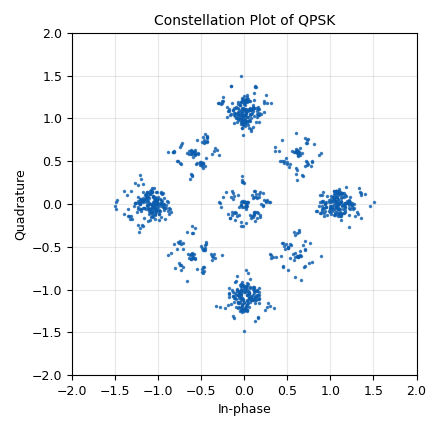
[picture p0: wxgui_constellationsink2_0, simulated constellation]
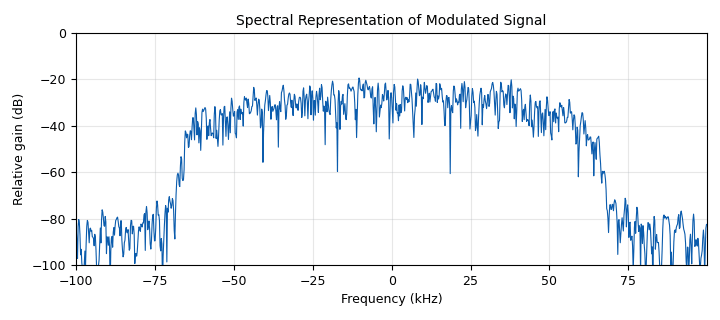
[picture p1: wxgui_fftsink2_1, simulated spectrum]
<?xml version='1.0' encoding='utf-8'?>
<?grc format='1' created='3.7.11'?>
<flow_graph>
<block>
<key>options</key>
<param><key>id</key><value>qpsk_mod_sim</value></param>
<param><key>author</key><value>AKADEMIKA Lab Solution</value></param>
<param><key>category</key><value>Custom</value></param>
<param><key>generate_options</key><value>wx_gui</value></param>
<param><key>title</key><value>QPSK Modulation</value></param>
</block>
<block>
<key>variable</key>
<param><key>id</key><value>samp_rate</value></param>
<param><key>value</key><value>200000</value></param>
</block>
<block>
<key>analog_random_source_x</key>
<param><key>id</key><value>analog_random_source_x_0</value></param>
<param><key>max</key><value>100</value></param>
<param><key>min</key><value>0</value></param>
<param><key>num_samps</key><value>10000</value></param>
<param><key>type</key><value>byte</value></param>
<param><key>repeat</key><value>True</value></param>
</block>
<block>
<key>blocks_throttle</key>
<param><key>id</key><value>blocks_throttle_0</value></param>
<param><key>samples_per_second</key><value>samp_rate</value></param>
<param><key>type</key><value>complex</value></param>
</block>
<block>
<key>digital_psk_mod</key>
<param><key>id</key><value>digital_psk_mod_0</value></param>
<param><key>differential</key><value>True</value></param>
<param><key>excess_bw</key><value>350e-3</value></param>
<param><key>mod_code</key><value>"gray"</value></param>
<param><key>constellation_points</key><value>4</value></param>
<param><key>samples_per_symbol</key><value>2</value></param>
</block>
<block>
<key>wxgui_constellationsink2</key>
<param><key>id</key><value>wxgui_constellationsink2_0</value></param>
<param><key>const_size</key><value>1024</value></param>
<param><key>frame_rate</key><value>10</value></param>
<param><key>gain_mu</key><value>0.005</value></param>
<param><key>loop_bw</key><value>6.28/100.0</value></param>
<param><key>M</key><value>4</value></param>
<param><key>fmax</key><value>0.06</value></param>
<param><key>mu</key><value>0.5</value></param>
<param><key>omega_limit</key><value>0.005</value></param>
<param><key>samp_rate</key><value>samp_rate</value></param>
<param><key>symbol_rate</key><value>samp_rate</value></param>
<param><key>theta</key><value>0</value></param>
<param><key>title</key><value>Constellation Plot of QPSK</value></param>
</block>
<block>
<key>wxgui_fftsink2</key>
<param><key>id</key><value>wxgui_fftsink2_1</value></param>
<param><key>avg_alpha</key><value>0</value></param>
<param><key>average</key><value>False</value></param>
<param><key>baseband_freq</key><value>0</value></param>
<param><key>fft_size</key><value>1024</value></param>
<param><key>freqvar</key><value>None</value></param>
<param><key>peak_hold</key><value>False</value></param>
<param><key>ref_level</key><value>0</value></param>
<param><key>ref_scale</key><value>2.0</value></param>
<param><key>fft_rate</key><value>15</value></param>
<param><key>samp_rate</key><value>samp_rate</value></param>
<param><key>title</key><value>Spectral Representation of Modulated Signal</value></param>
<param><key>type</key><value>complex</value></param>
<param><key>win</key><value>None</value></param>
<param><key>y_divs</key><value>10</value></param>
<param><key>y_per_div</key><value>10</value></param>
</block>
<connection><source_block_id>analog_random_source_x_0</source_block_id><sink_block_id>digital_psk_mod_0</sink_block_id><source_key>0</source_key><sink_key>0</sink_key></connection>
<connection><source_block_id>blocks_throttle_0</source_block_id><sink_block_id>wxgui_constellationsink2_0</sink_block_id><source_key>0</source_key><sink_key>0</sink_key></connection>
<connection><source_block_id>blocks_throttle_0</source_block_id><sink_block_id>wxgui_fftsink2_1</sink_block_id><source_key>0</source_key><sink_key>0</sink_key></connection>
<connection><source_block_id>digital_psk_mod_0</source_block_id><sink_block_id>blocks_throttle_0</sink_block_id><source_key>0</source_key><sink_key>0</sink_key></connection>
</flow_graph>
